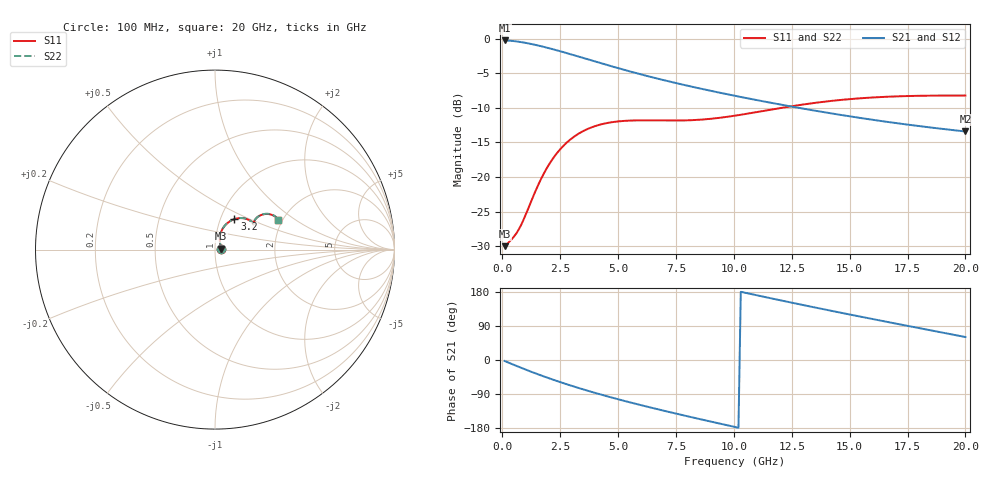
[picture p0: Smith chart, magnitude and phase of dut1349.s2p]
! Touchstone file exported from HFSS 2024.1.0
!  File:  C:/UserFiles/LocalFiles/RDL_TSV_Batchsim/temp_RDL_TSV_1349_1780393733.aedt
!  Generated:  06:06:05 PM Jun  2, 2026
!  Design:  RDL_TSV
!  Project:  temp_RDL_TSV_1349_1780393733
!  Setup:  Setup1
!  Solution:  Sweep
! Variables:
!  dtsv = 13.34um
!  hbump = 3um
!  htsv = 86.1um
!  ldown = 510.3um
!  lrdl = 667.79um
!  p = 40
!  p1 = 44.9um
!  rhole = 10um
!  subl = 4202.06um
!  t = 450um
!  tdown = 2.37um
!  trdl = 4.7um
!  viad = 10um
!  wdown = 12.63um
!  wrdl = 14.07um
!  xbump = 18um
# GHz S MA R 50.000000
! Terminal data exported
! Port[1] = TM1_1_T1
! Port[2] = TM1_4_T1
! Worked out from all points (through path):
!   200 points, 100 MHz to 20 GHz, reference 50 ohm
!   highest |S21| = -0.28 dB at 100 MHz (marker M1); lowest = -13.4 dB at 20 GHz (marker M2)
!   group delay of S21, straight-line fit = 39.4 ps
!   lowest |S11| = -30.0 dB at 100 MHz (marker M3), VSWR 1.07, Z = 53.2 + j0.472 ohm
!   |S11| at or under -10 dB: start of sweep to 12.07 GHz
!   |S22| runs from -30.0 to -8.2 dB; largest |S21 - S12| = 9.4e-14
!   S11 on the Smith chart (normalised r, x): 100 MHz: 1.06, +0.01; 3.2 GHz: 1.16, +0.41; 20 GHz: 1.90, +0.73
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0.1  0.03176 8.0  0.968 -2.6  0.968 -2.6  0.03176 8.0
! Gamma 0 0 0 0
! Port Impedance 50 0 50 0
0.4  0.03558 27.7  0.9615 -10.3  0.9615 -10.3  0.03556 27.7
0.7  0.0416 45.2  0.9485 -17.8  0.9485 -17.8  0.04158 45.2
1.2  0.06401 65.8  0.9169 -29.9  0.9169 -29.9  0.06402 65.9
1.6  0.09147 70.9  0.8862 -39.0  0.8862 -39.0  0.09153 71.0
1.9  0.1143 70.7  0.8614 -45.7  0.8614 -45.7  0.1144 70.7
2.3  0.1445 67.7  0.8269 -54.2  0.8269 -54.2  0.1447 67.8
2.7  0.1721 63.4  0.7919 -62.4  0.7919 -62.4  0.1724 63.5
3.2  0.2011 57.5  0.7487 -72.1  0.7487 -72.1  0.2014 57.6
3.5  0.2151 54.0  0.7235 -77.7  0.7235 -77.7  0.2154 54.1
4.3  0.241 45.9  0.6606 -91.9  0.6606 -91.9  0.2414 45.9
5.1  0.2532 39.7  0.6047 -105.2  0.6047 -105.2  0.2536 39.7
5.9  0.2567 35.6  0.556 -117.8  0.556 -117.8  0.2572 35.7
6.8  0.2561 33.4  0.5089 -131.3  0.5089 -131.3  0.2566 33.5
8.3  0.2581 34.0  0.4447 -152.8  0.4447 -152.8  0.2586 34.1
10.1  0.2783 36.7  0.3844 -177.4  0.3844 -177.4  0.2789 36.8
11.8  0.3107 37.2  0.3389 160.2  0.3389 160.2  0.3114 37.3
13.4  0.3415 35.4  0.3036 139.9  0.3036 139.9  0.3424 35.6
15  0.3653 32.5  0.2745 120.1  0.2745 120.1  0.3663 32.6
16.7  0.3806 29.2  0.2493 99.6  0.2493 99.6  0.3817 29.4
18.3  0.3867 26.7  0.2301 80.6  0.2301 80.6  0.388 26.8
20  0.388 24.9  0.2135 60.6  0.2135 60.6  0.3893 25.1
